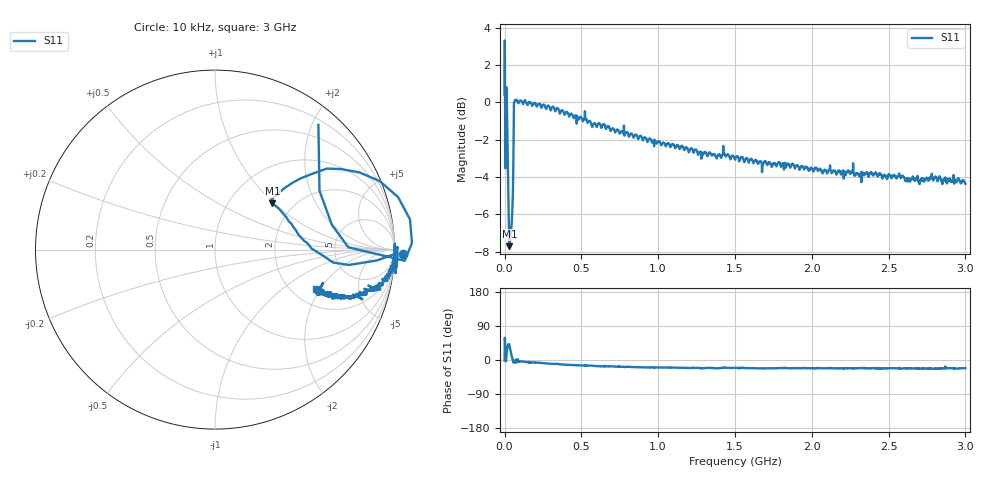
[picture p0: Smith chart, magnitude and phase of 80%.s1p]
# HZ S RI R 50
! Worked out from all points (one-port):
!   2020 points, 10 kHz to 3 GHz, reference 50 ohm
!   lowest |S11| = -7.7 dB at 31.21 MHz (marker M1), VSWR 2.40, Z = 78.5 + j48.9 ohm
!   |S11| at or under -10 dB: nowhere
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10000  1.05 -0.0223
5953516  0.6513 0.1378
1.635467e7  0.8051 0.4299
1.784055e7  0.7023 0.4486
1.932643e7  0.6233 0.4515
2.378406e7  0.429 0.3705
2.675582e7  0.3579 0.3193
3.121346e7  0.3202 0.2586
3.715698e7  0.3833 0.1964
4.310049e7  0.4383 0.1238
5.350164e7  0.5666 -0.0115
6.39028e7  1.004 -0.0433
7.133219e7  1.013 -0.0307
7.578983e7  1.016 0.0147
1.500838e8  0.9793 -0.098
3.759374e8  0.932 -0.1978
6.121921e8  0.8442 -0.2482
7.503789e8  0.7849 -0.2533
1.126306e9  0.7212 -0.2662
1.374448e9  0.6659 -0.2652
1.435369e9  0.6791 -0.2508
1.500748e9  0.6579 -0.25
1.667166e9  0.6431 -0.2612
1.875189e9  0.6361 -0.2507
2.251117e9  0.6015 -0.2348
2.625558e9  0.5794 -0.2352
2.82318e9  0.5751 -0.2428
3e9  0.5634 -0.2209
